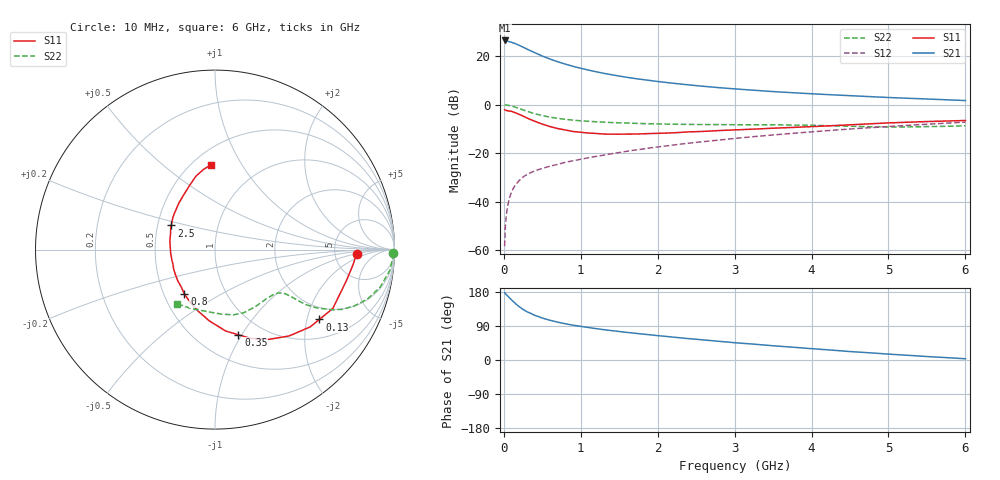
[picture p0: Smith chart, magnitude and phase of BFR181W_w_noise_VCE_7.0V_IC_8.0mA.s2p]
! Infineon Technologies  Discrete & RF Semiconductors
! BFR181W
! VCE =  7.0 V,  IC =  8.0 mA
! Common Emitter S-Parameters:  Jan 2017
# GHz  S  MA  R  50
!  f  S11  S21  S12  S22
! GHz  MAG  ANG  MAG  ANG  MAG  ANG  MAG  ANG
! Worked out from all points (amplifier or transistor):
!   77 points, 10 MHz to 6 GHz, reference 50 ohm
!   highest |S21| = 26.6 dB at 10 MHz (marker M1)
!   |S21| within 3 dB of that: start of sweep to 264.6 MHz
!   unconditionally stable (mu >= 1): 1.147 GHz to 3.123 GHz
!   at 130 MHz: K = 0.22, MSG = 29.8 dB, |S12| = -34.2 dB
!   at 2.2 GHz: K = 1.06, MAG = 11.3 dB, |S12| = -16.6 dB
!   at 6 GHz: K = 0.85, MSG = 4.5 dB, |S12| = -7.2 dB
!   lowest NFmin = 1.14 dB at 450 MHz
!   S11 on the Smith chart (normalised r, x): 10 MHz: 8.35, -1.10; 130 MHz: 1.56, -2.38; 350 MHz: 0.77, -0.97; 800 MHz: 0.64, -0.35; 2.5 GHz: 0.59, +0.17; 6 GHz: 0.61, +0.75
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0.01  0.7894 -1.8  21.3 177.9  0.0012 88.6  0.9946 -1.2
0.02  0.7728 -6.5  20.97 175.1  0.0031 79.6  0.9924 -2.4
0.05  0.7523 -13.3  20.56 168.9  0.0082 82.7  0.9812 -6.7
0.1  0.7339 -26.5  19.54 158.5  0.0158 78.2  0.9441 -12.8
0.13  0.6997 -33.8  18.75 153.0  0.0196 74.1  0.9126 -15.9
0.15  0.6836 -39.0  18.32 149.1  0.0221 72.2  0.8931 -18.0
0.2  0.6343 -49.3  16.86 140.6  0.0272 69.8  0.8372 -22.0
0.25  0.5825 -59.2  15.49 133.4  0.0323 64.5  0.7845 -25.1
0.3  0.5341 -68.0  14.13 127.4  0.0362 62.6  0.734 -27.2
0.35  0.4922 -74.6  12.98 123.1  0.0396 61.5  0.6942 -28.4
0.4  0.458 -82.4  11.93 117.9  0.043 60.6  0.6547 -29.8
0.5  0.3982 -94.6  10.14 110.7  0.0485 60.0  0.5966 -31.1
0.6  0.3553 -105.4  8.807 104.8  0.0539 59.9  0.5543 -31.5
0.8  0.3008 -124.5  6.911 95.6  0.065 61.8  0.4996 -31.7
1.1  0.2608 -147.9  5.202 85.7  0.0805 63.4  0.4558 -32.4
1.5  0.2468 -171.1  3.917 75.2  0.1032 64.7  0.4234 -35.0
2.1  0.2598 163.5  2.902 62.4  0.1407 64.9  0.3994 -42.3
2.5  0.2784 151.1  2.49 54.7  0.167 64.2  0.3914 -48.8
3.1  0.3071 136.2  2.075 44.1  0.2087 61.9  0.3866 -58.8
4.1  0.3596 117.4  1.657 28.5  0.2836 55.9  0.3735 -76.1
5.1  0.4275 103.3  1.392 14.3  0.3634 48.1  0.3474 -100.8
6  0.4735 92.7  1.222 3.3  0.4376 39.8  0.3685 -125.3
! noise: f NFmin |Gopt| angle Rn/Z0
0.45  1.14  0.2  16  0.21
0.9  1.18  0.19  31  0.21
1.9  1.6  0.07  92  0.2
2.4  1.76  0.06  100  0.23
